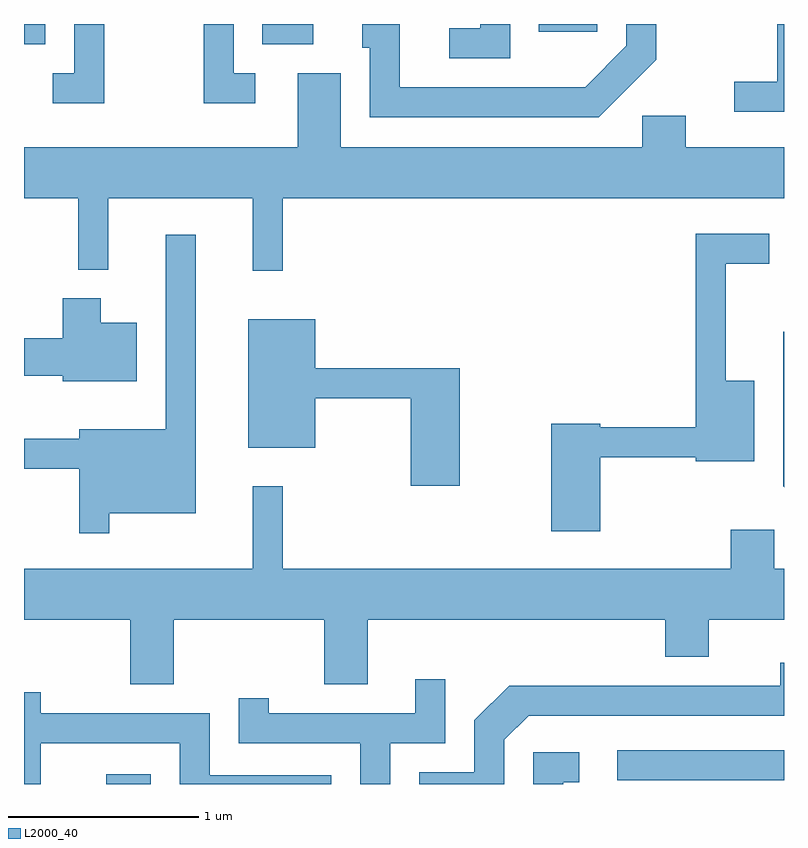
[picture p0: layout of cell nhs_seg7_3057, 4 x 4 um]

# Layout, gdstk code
import gdstk
lib = gdstk.Library(unit=1e-6, precision=1e-09)
def R(c, l, rs):  # rectangles x0, y0, x1, y1
    for r in rs: c.add(gdstk.rectangle(r[:2], r[2:], *l))
def P(c, l, *ps):  # polygons
    for p in ps: c.add(gdstk.Polygon(p, *l))
L2000_40 = (2000, 40)

nhs_seg7_3057 = lib.new_cell('nhs_seg7_3057')
R(nhs_seg7_3057, L2000_40, [(278.043,1802.252,278.279,1802.304), (280.733,1802.271,281.611,1802.429), (277.611,1806.146,277.724,1806.252), (278.866,1806.146,279.134,1806.252), (280.321,1806.211,280.629,1806.252)])
P(nhs_seg7_3057, L2000_40, [(281.611,1806.252),(281.576,1806.252),(281.576,1805.949),(281.348,1805.949),(281.348,1805.791),(281.611,1805.791)],
  [(278.828,1805.994),(278.714,1805.994),(278.714,1806.252),(278.556,1806.252),(278.556,1805.836),(278.828,1805.836)],
  [(278.034,1806.252),(277.876,1806.252),(277.876,1805.994),(277.763,1805.994),(277.763,1805.836),(278.034,1805.836)],
  [(280.169,1806.252),(280.011,1806.252),(280.011,1806.229),(279.848,1806.229),(279.848,1806.071),(280.169,1806.071)],
  [(280.939,1806.064),(280.939,1806.252),(280.781,1806.252),(280.781,1806.137),(280.564,1805.919),(279.589,1805.919),(279.589,1806.252),(279.391,1806.252),(279.391,1806.126),(279.431,1806.126),(279.431,1805.761),(280.637,1805.761)],
  [(278.974,1805.336),(281.611,1805.336),(281.611,1805.604),(281.094,1805.604),(281.094,1805.769),(280.866,1805.769),(280.866,1805.604),(279.279,1805.604),(279.279,1805.994),(279.051,1805.994),(279.051,1805.604),(277.611,1805.604),(277.611,1805.336),(277.896,1805.336),(277.896,1804.958),(278.054,1804.958),(278.054,1805.336),(278.816,1805.336),(278.816,1804.953),(278.974,1804.953)],
  [(280.644,1803.971),(281.146,1803.971),(281.146,1803.951),(281.454,1803.951),(281.454,1804.374),(281.304,1804.374),(281.304,1804.991),(281.533,1804.991),(281.533,1805.149),(281.146,1805.149),(281.146,1804.129),(280.644,1804.129),(280.644,1804.149),(280.386,1804.149),(280.386,1803.581),(280.644,1803.581)],
  [(278.059,1803.676),(278.514,1803.676),(278.514,1805.143),(278.356,1805.143),(278.356,1804.119),(277.901,1804.119),(277.901,1804.069),(277.611,1804.069),(277.611,1803.911),(277.901,1803.911),(277.901,1803.573),(278.059,1803.573)],
  [(278.204,1804.679),(278.014,1804.679),(278.014,1804.809),(277.816,1804.809),(277.816,1804.599),(277.611,1804.599),(277.611,1804.401),(277.816,1804.401),(277.816,1804.371),(278.204,1804.371)],
  [(279.904,1804.439),(279.144,1804.439),(279.144,1804.699),(278.791,1804.699),(278.791,1804.021),(279.144,1804.021),(279.144,1804.281),(279.646,1804.281),(279.646,1803.821),(279.904,1803.821)],
  [(281.611,1804.633),(281.606,1804.633),(281.606,1803.819),(281.611,1803.814)],
  [(278.399,1803.116),(279.191,1803.116),(279.191,1802.776),(279.419,1802.776),(279.419,1803.116),(280.986,1803.116),(280.986,1802.921),(281.214,1802.921),(281.214,1803.116),(281.611,1803.116),(281.611,1803.384),(281.559,1803.384),(281.559,1803.589),(281.331,1803.589),(281.331,1803.384),(278.974,1803.384),(278.974,1803.818),(278.816,1803.818),(278.816,1803.384),(277.611,1803.384),(277.611,1803.116),(278.171,1803.116),(278.171,1802.776),(278.399,1802.776)],
  [(280.139,1802.484),(280.267,1802.611),(281.611,1802.611),(281.611,1802.889),(281.591,1802.889),(281.591,1802.769),(280.164,1802.769),(279.981,1802.587),(279.981,1802.314),(279.691,1802.314),(279.691,1802.252),(280.139,1802.252)],
  [(279.539,1802.466),(279.829,1802.466),(279.829,1802.803),(279.671,1802.803),(279.671,1802.624),(278.899,1802.624),(278.899,1802.703),(278.741,1802.703),(278.741,1802.466),(279.381,1802.466),(279.381,1802.252),(279.539,1802.252)],
  [(277.699,1802.466),(278.431,1802.466),(278.431,1802.252),(279.229,1802.252),(279.229,1802.299),(278.589,1802.299),(278.589,1802.624),(277.699,1802.624),(277.699,1802.734),(277.611,1802.734),(277.611,1802.252),(277.699,1802.252)],
  [(280.449,1802.261),(280.533,1802.261),(280.533,1802.419),(280.291,1802.419),(280.291,1802.252),(280.449,1802.252)])

lib.write_gds('nhs_seg7_3057.gds')
